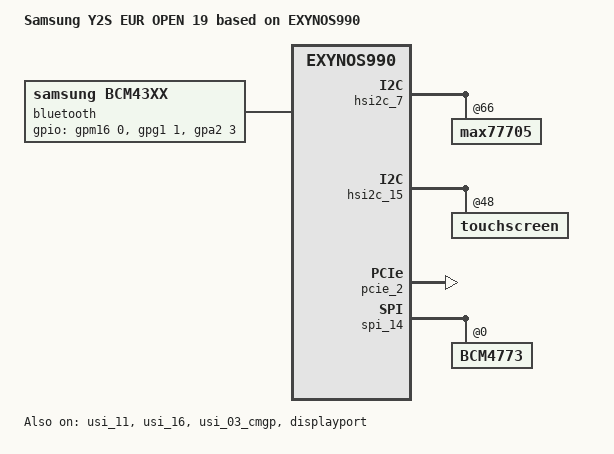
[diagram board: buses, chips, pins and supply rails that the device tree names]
/*
 * SAMSUNG EXYNOS990 board device tree source
 *
 * Copyright (c) 2019 Samsung Electronics Co., Ltd.
 *		http://www.samsung.com
 *
 * This program is free software; you can redistribute it and/or modify
 * it under the terms of the GNU General Public License version 2 as
 * published by the Free Software Foundation.
*/

/dts-v1/;
/plugin/;
#include "exynos9830-y2s_pm_16.dtsi"
#include "exynos990-y2s_common.dtsi"
#include "exynos_gpio_config_macros.dtsi"
#include "exynos9830-picasso_nfc_17.dtsi"
#include "../exynos/exynos9830-universal9830-cp-s5123-sipc.dtsi"
#include <dt-bindings/gpio/gpio.h>
#include "exynos9830-sensorhub_03.dtsi"
#include "exynos9830-hubbley2_fingerprint_00.dtsi"
#include "battery_data_hubbley2_17.dtsi"

#define BOARD_ID	0x10
#define BOARD_REV	0x0

/ {
	compatible = "samsung,Y2S EUR OPEN 19", "samsung,EXYNOS990";
	dtbo-hw_rev = <19>;
	dtbo-hw_rev_end = <20>;
	edtbo-rev = <0>;

	fragment@model {
		target-path = "/";
		__overlay__ {
			#address-cells = <2>;
			#size-cells = <1>;

			model = "Samsung Y2S EUR OPEN 19 based on EXYNOS990";

			acpm_ipc {
				compatible = "samsung,exynos-acpm-ipc";
				board-id = <BOARD_ID>;
				board-rev = <BOARD_REV>;
			};

			pinctrl@15850000 {
				bt_hostwake: bt-hostwake {
					samsung,pins = "gpa2-3";
					samsung,pin-function = <0xF>;
					samsung,pin-pud = <1>;
				};
			};

			pinctrl@10730000 {
				bt_btwake: bt-btwake {
					samsung,pins = "gpg1-1";
					samsung,pin-function = <1>;
					samsung,pin-pud = <0>;
					samsung,pin-con-pdn = <3>;
					samsung,pin-pud-pdn = <0>;
				};
			};

			pinctrl@15C30000 {
				bt_en: bt-en {
					samsung,pins = "gpm16-0";
					samsung,pin-function = <1>;
					samsung,pin-pud = <0>;
					samsung,pin-con-pdn = <3>;
					samsung,pin-pud-pdn = <0>;
				};
			};

			bluetooth {
				compatible = "samsung,bcm43xx";
				gpios = <&gpm16 0 GPIO_ACTIVE_HIGH    /*BT_EN*/
				&gpg1 1 GPIO_ACTIVE_HIGH    /*BT_WAKE*/
				&gpa2 3 GPIO_ACTIVE_HIGH    /*BT_HOST_WAKE*/ >;
				pinctrl-names = "default";
				pinctrl-0=<&bt_en &bt_hostwake &bt_btwake>;
				status = "okay";
			};
		}; /* end of __overlay__ */
	}; /* end of fragment */
}; /* end of root */

&panel_0 {
	/* reset, power */
	gpios = <&gpa3 4 0x1>;
};

&chosen {
	bootargs_ext = "root=/dev/ram0 androidboot.boot_devices=13100000.ufs";
};

&usi_11 {
	usi_v2_mode = "i2c";
	status = "okay";
};

&usi_16 {
	usi_v2_mode = "spi";
	status = "okay";
};

&usi_03_cmgp {
	usi_v2_mode = "i2c";
	status = "okay";
};

&hsi2c_7 {
	max77705@66 {
		max77705,extra_fw_enable = <0>;
	};
};

&pinctrl_1 {
	hsi2c44_bus: hsi2c44-bus {
		samsung,pins = "gpm12-0", "gpm13-0";
		samsung,pin-function = <2>;
		samsung,pin-pud = <0>;
		samsung,pin-drv = <0>;
	};

	tsp_id: tsp-id {
		samsung,pins = "gpm21-0";
		samsung,pin-function = <0>;
		samsung,pin-pud = <0>;
		samsung,pin-drv = <0>;
	};
};

&hsi2c_15 {
	touchscreen@48 {
		pinctrl-0 = <&attn_irq &tsp_id>;
		pinctrl-1 = <&attn_input &tsp_id>;
	};
};
&pinctrl_5 {
	aux_oe: aux-oe {
		samsung,pins = "gpp6-2";
		samsung,pin-function = <1>;
		samsung,pin-pud = <0>;
		samsung,pin-con-pdn = <3>;
		samsung,pin-pud-pdn = <0>;
		};

	sbu_sel: sbu-sel {
		samsung,pins = "gpp6-1";
		samsung,pin-function = <1>;
		samsung,pin-pud = <0>;
		samsung,pin-con-pdn = <3>;
		samsung,pin-pud-pdn = <0>;
		};
};

&displayport {
	status = "okay";
	dp,aux_sw_oe = <&gpp6 2 0>;
	dp,sbu_sw_sel = <&gpp6 1 0>;
	dp,usb_con_sel = <&gpm26 0 0>;

	pinctrl-names = "default";
	pinctrl-0 = <&aux_oe &sbu_sel>;
};

&pcie_2 {
	status = "okay";
	chip-ver = <1>;
	use-sysmmu = "false";
	use-cache-coherency = "true";
	use-msi = "true";
	use-pcieon-sleep = "true";
	phy-power-off = "false";
	ep-device-type = <EP_SAMSUNG_MODEM>;
	ep-device-name = "MODEM";
};

&ufs {
	/* board type for UFS CAL */
	evt-ver = /bits/ 8 <1>;
};

&spi_14 {
	BCM4773@0 {
		ssp-acc-position = <6>;
		ssp-mag-position = <5>;
      	ssp-mag-array = /bits/ 8 <175 84 224 204 254 128 0 64 212 54 81 108 96 102 252 122 255 159 193 200 191 253 207 211 9 117 206>;
		ssp-thermi-up = /bits/ 16 <3231 3201 3160 3107 3044 2965 2868 2758 2633 2493 2340 2177 2000 1814
					1640 1468 1302 1145 999 865 746 639 513>;
		ssp-thermi-sub = /bits/ 16 <4095 4095 4095 4034 3822 3566 3312 3027 2728 2438 2156 1886 1634 1409
					1203 1028 874 743 630 530 450 381 318>;
	};
};

/* ----------------------------------------------------------------------------
 * Configurations for GPIOs without Device Driver
 * Note: Do NOT add pins using by device drivers to the configuration below
 * ----------------------------------------------------------------------------
 */
/*
 * pin banks of exynos9830 pin-controller 0 (ALIVE) : pinctrl@15850000
 * GPA0, GPA1, GPA2, GPA3, GPA4
 * GPQ0
 */
&pinctrl_0 {
	pinctrl-names = "default";
	pinctrl-0 = <&initial0>;
	initial0: initial-state {
		PIN_IN(gpq0-6, DOWN);			/* XSPEEDY_DCXO */
	};
};

/*
 * pin banks of exynos9830 pin-controller 4 (PERIC0) : pinctrl@10430000
 * GPP0, GPP1, GPP2, GPP3, GPP4
 * GPG0
 */
&pinctrl_4 {
	pinctrl-names = "default";
	pinctrl-0 = <&initial4>;
	initial4: initial-state {
		PIN_IN_SLP(gpp2-4, NONE, INPUT, NONE);	/* SUB_VER_1 */
		PIN_IN_SLP(gpp2-5, NONE, INPUT, NONE);	/* SUB_VER_2 */
	};
};

/*
 * pin banks of exynos9830 pin-controller 5 (PERIC1) : pinctrl@10730000
 * GPP5, GPP6, GPP7, GPP8, GPP9
 * GPC0
 * GPG1
 * GPB0, GPB1, GPB2
 */
&pinctrl_5 {
	pinctrl-names = "default";
	pinctrl-0 = <&initial5>;
	initial5: initial-state {
		PIN_IN_SLP(gpp5-0, NONE, INPUT, NONE);	/* MEM_SCL_1P8 */
		PIN_IN_SLP(gpp5-1, NONE, INPUT, NONE);	/* MEM_SDA_1P8 */
		PIN_IN_SLP(gpp5-5, NONE, INPUT, NONE);	/* HW_REV_M */
		PIN_IN_SLP(gpb0-0, NONE, INPUT, NONE);	/* INTERPOSER_DET_R_2 */
		PIN_IN_SLP(gpb0-1, NONE, INPUT, NONE);	/* INTERPOSER_DET_R_1 */
		PIN_IN_SLP(gpb0-2, NONE, INPUT, NONE);	/* INTERPOSER_DET_L_1 */
		PIN_IN_SLP(gpb0-3, NONE, INPUT, NONE);	/* INTERPOSER_DET_L_2 */
	};
};

&exynos_is {
	vender {
		ois_gyro_list = <0x01 0x00 0x00 0x00 0x01>;
	};
};
